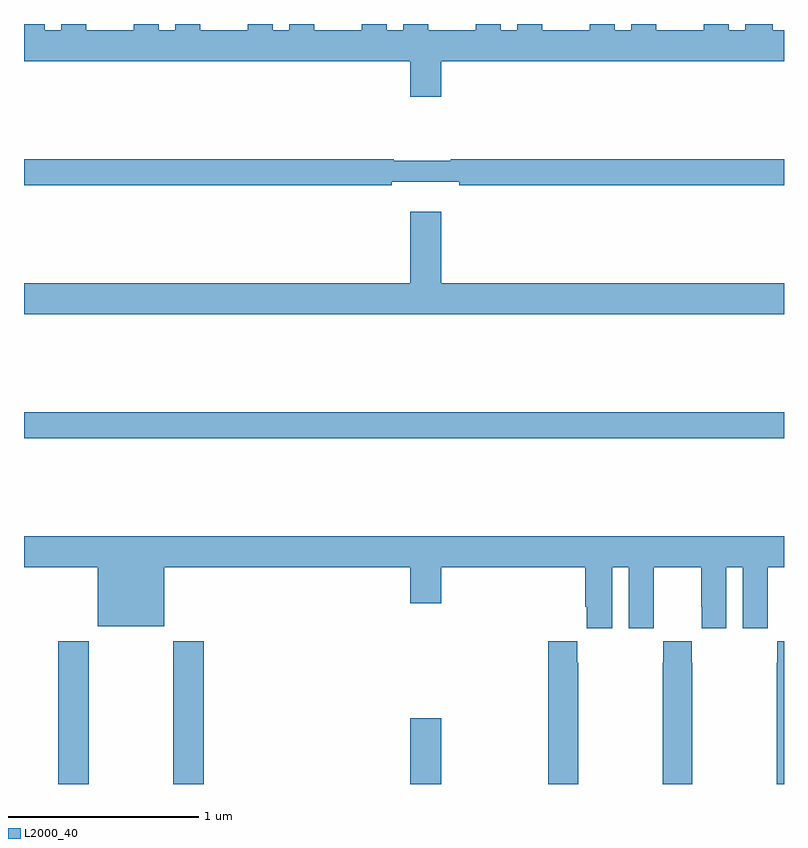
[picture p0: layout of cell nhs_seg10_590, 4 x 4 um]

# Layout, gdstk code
import gdstk
lib = gdstk.Library(unit=1e-6, precision=1e-09)
def R(c, l, rs):  # rectangles x0, y0, x1, y1
    for r in rs: c.add(gdstk.rectangle(r[:2], r[2:], *l))
def P(c, l, *ps):  # polygons
    for p in ps: c.add(gdstk.Polygon(p, *l))
L2000_40 = (2000, 40)

nhs_seg10_590 = lib.new_cell('nhs_seg10_590')
R(nhs_seg10_590, L2000_40, [(139.181,1308.5,139.341,1309.252), (139.786,1308.5,139.946,1309.252), (141.032,1308.5,141.196,1308.847), (139,1310.32,143,1310.456)])
P(nhs_seg10_590, L2000_40, [(141.196,1312.304),(143,1312.304),(143,1312.468),(142.94,1312.468),(142.94,1312.5),(142.796,1312.5),(142.796,1312.468),(142.708,1312.468),(142.708,1312.5),(142.577,1312.5),(142.577,1312.468),(142.327,1312.468),(142.327,1312.5),(142.196,1312.5),(142.196,1312.468),(142.108,1312.468),(142.108,1312.5),(141.977,1312.5),(141.977,1312.468),(141.727,1312.468),(141.727,1312.5),(141.596,1312.5),(141.596,1312.468),(141.508,1312.468),(141.508,1312.5),(141.377,1312.5),(141.377,1312.468),(141.127,1312.468),(141.127,1312.5),(140.996,1312.5),(140.996,1312.468),(140.908,1312.468),(140.908,1312.5),(140.777,1312.5),(140.777,1312.468),(140.527,1312.468),(140.527,1312.5),(140.396,1312.5),(140.396,1312.468),(140.308,1312.468),(140.308,1312.5),(140.177,1312.5),(140.177,1312.468),(139.927,1312.468),(139.927,1312.5),(139.796,1312.5),(139.796,1312.468),(139.708,1312.468),(139.708,1312.5),(139.577,1312.5),(139.577,1312.468),(139.327,1312.468),(139.327,1312.5),(139.196,1312.5),(139.196,1312.468),(139.108,1312.468),(139.108,1312.5),(139,1312.5),(139,1312.304),(141.032,1312.304),(141.032,1312.116),(141.196,1312.116)],
  [(140.936,1311.671),(141.292,1311.671),(141.292,1311.652),(143,1311.652),(143,1311.788),(141.245,1311.788),(141.245,1311.781),(140.945,1311.781),(140.945,1311.788),(139,1311.788),(139,1311.652),(140.936,1311.652)],
  [(143,1311.136),(141.196,1311.136),(141.196,1311.511),(141.032,1311.511),(141.032,1311.136),(139,1311.136),(139,1310.972),(143,1310.972)],
  [(139,1309.64),(139.388,1309.64),(139.388,1309.331),(139.738,1309.331),(139.738,1309.64),(141.032,1309.64),(141.032,1309.452),(141.196,1309.452),(141.196,1309.64),(141.953,1309.64),(141.953,1309.432),(141.962,1309.432),(141.962,1309.32),(142.096,1309.32),(142.096,1309.64),(142.184,1309.64),(142.184,1309.32),(142.314,1309.32),(142.314,1309.432),(142.315,1309.432),(142.315,1309.64),(142.565,1309.64),(142.565,1309.432),(142.566,1309.432),(142.566,1309.32),(142.696,1309.32),(142.696,1309.64),(142.784,1309.64),(142.784,1309.32),(142.914,1309.32),(142.914,1309.432),(142.915,1309.432),(142.915,1309.64),(143,1309.64),(143,1309.804),(139,1309.804)],
  [(143,1309.252),(142.965,1309.252),(142.965,1309.139),(142.963,1309.139),(142.963,1308.5),(143,1308.5)],
  [(142.518,1309.139),(142.515,1309.139),(142.515,1309.252),(142.365,1309.252),(142.365,1309.139),(142.363,1309.139),(142.363,1308.5),(142.518,1308.5)],
  [(141.918,1309.139),(141.911,1309.139),(141.911,1309.252),(141.758,1309.252),(141.758,1308.5),(141.918,1308.5)])

lib.write_gds('nhs_seg10_590.gds')
